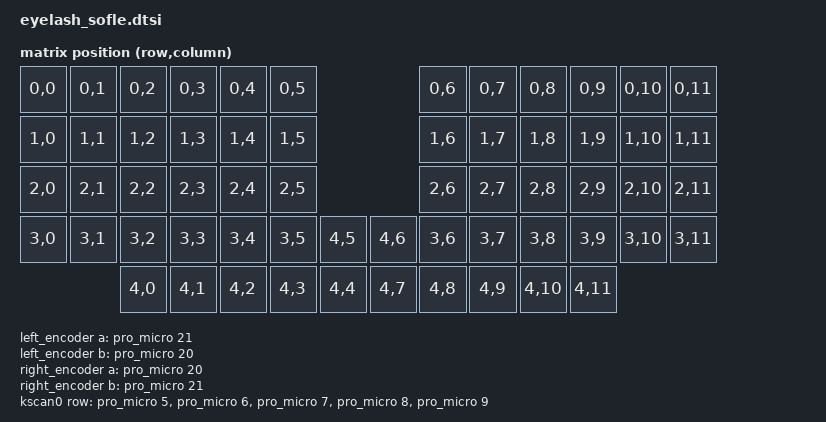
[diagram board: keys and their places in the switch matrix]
/*
*
* Copyright (c) 2021 Darryl deHaan
* SPDX-License-Identifier: MIT
*
*/
#include <dt-bindings/led/led.h>
#include <dt-bindings/zmk/matrix_transform.h>
#include <layouts/josefadamcik/sofle.dtsi>

&josefadamcik_sofle_layout {
    transform = <&default_transform>;
};

/ {

    chosen {
        //zephyr,display = &oled;
        zmk,kscan = &kscan0;
    };

	/*
    *backlight: pwmleds {
    *    compatible = "pwm-leds";
    *    pwm_led_0 {
    *        pwms = <&pwm0 0 PWM_MSEC(1) PWM_POLARITY_NORMAL>;
    *    };
    *};
	*/

    left_encoder: encoder_left {
        compatible = "alps,ec11";
        a-gpios = <&pro_micro 21 (GPIO_ACTIVE_HIGH | GPIO_PULL_UP)>;
        b-gpios = <&pro_micro 20 (GPIO_ACTIVE_HIGH | GPIO_PULL_UP)>;
        steps = <80>;
        status = "disabled";
    };

    right_encoder: encoder_right {
        compatible = "alps,ec11";
        a-gpios = <&pro_micro 20 (GPIO_ACTIVE_HIGH | GPIO_PULL_UP)>;
        b-gpios = <&pro_micro 21 (GPIO_ACTIVE_HIGH | GPIO_PULL_UP)>;
        steps = <80>;
        status = "disabled";
    };
    
	sensors: sensors {
        compatible = "zmk,keymap-sensors";
        sensors = <&left_encoder &right_encoder>;
        triggers-per-rotation = <20>;
    };


    kscan0: kscan {
        compatible = "zmk,kscan-gpio-matrix";
        wakeup-source;

        diode-direction = "col2row";
        row-gpios
            = <&pro_micro 5 (GPIO_ACTIVE_HIGH | GPIO_PULL_DOWN)>
            , <&pro_micro 6 (GPIO_ACTIVE_HIGH | GPIO_PULL_DOWN)>
            , <&pro_micro 7 (GPIO_ACTIVE_HIGH | GPIO_PULL_DOWN)>
            , <&pro_micro 8 (GPIO_ACTIVE_HIGH | GPIO_PULL_DOWN)>
            , <&pro_micro 9 (GPIO_ACTIVE_HIGH | GPIO_PULL_DOWN)>
            ;
    };
/*    
*    ext-power {
*        compatible = "zmk,ext-power-generic";
*        label = "EXT_POWER";
*        control-gpios = <&gpio0 13 GPIO_ACTIVE_HIGH>;
*        init-delay-ms = <50>;
*        status = "okay";
*    };
*/

    vbatt: vbatt {
        compatible = "zmk,battery-nrf-vddh";
    };

    default_transform: keymap_transform_0 {
        compatible = "zmk,matrix-transform";
        columns = <16>;
        rows = <4>;
        map = <
RC(0,0) RC(0,1) RC(0,2) RC(0,3) RC(0,4) RC(0,5)                 RC(0,6) RC(0,7) RC(0,8)  RC(0,9) RC(0,10) RC(0,11)
RC(1,0) RC(1,1) RC(1,2) RC(1,3) RC(1,4) RC(1,5)                 RC(1,6) RC(1,7) RC(1,8)  RC(1,9) RC(1,10) RC(1,11)
RC(2,0) RC(2,1) RC(2,2) RC(2,3) RC(2,4) RC(2,5)                 RC(2,6) RC(2,7) RC(2,8)  RC(2,9) RC(2,10) RC(2,11)
RC(3,0) RC(3,1) RC(3,2) RC(3,3) RC(3,4) RC(3,5) RC(4,5) RC(4,6) RC(3,6) RC(3,7) RC(3,8)  RC(3,9) RC(3,10) RC(3,11)
                RC(4,0) RC(4,1) RC(4,2) RC(4,3) RC(4,4) RC(4,7) RC(4,8) RC(4,9) RC(4,10) RC(4,11)
        >;
    };
};


/*&pinctrl {
*
*    spi0_default: spi0_default {
*        group1 {
*            psels = <NRF_PSEL(SPIM_SCK, 0, 20)>,
*                <NRF_PSEL(SPIM_MOSI, 0, 17)>,
*                <NRF_PSEL(SPIM_MISO, 0, 25)>;
*        };
*    };
*
*    spi0_sleep: spi0_sleep {
*        group1 {
*            psels = <NRF_PSEL(SPIM_SCK, 0, 20)>,
*                <NRF_PSEL(SPIM_MOSI, 0, 17)>,
*                <NRF_PSEL(SPIM_MISO, 0, 25)>;
*            low-power-enable;
*        };
*    };
*
*    spi3_default: spi3_default {
*        group1 {
*            psels = <NRF_PSEL(SPIM_MOSI, 1, 12)>; // WS2812_VEXT_DATA
*        };
*    };
*
*    spi3_sleep: spi3_sleep {
*        group1 {
*            psels = <NRF_PSEL(SPIM_MOSI, 1, 12)>;
*            low-power-enable;
*        };
*    };
*    pwm0_default: pwm0_default {
*        group1 {
*            psels = <NRF_PSEL(PWM_OUT0, 1, 13)>;
*        };
*    };
*    pwm0_sleep: pwm0_sleep {
*        group1 {
*            psels = <NRF_PSEL(PWM_OUT0, 1, 13)>;
*            low-power-enable;
*        };
*    };
*};
*/

/*
*&spi3 {
*    compatible = "nordic,nrf-spim";
*    status = "okay";
*
*    pinctrl-0 = <&spi3_default>;
*    pinctrl-1 = <&spi3_sleep>;
*    pinctrl-names = "default", "sleep";
*
*    led_strip: ws2812@0 { 
*        compatible = "worldsemi,ws2812-spi"; 
*
*         SPI 
*        reg = <0>;     ignored, but necessary for SPI bindings 
*        spi-max-frequency = <4000000>; 
*
*         WS2812
*        chain-length = <7>;     6 keys have underglow at the moment 
*        spi-one-frame = <0x70>;
*        spi-zero-frame = <0x40>;
*
*        color-mapping = <LED_COLOR_ID_GREEN LED_COLOR_ID_RED LED_COLOR_ID_BLUE>;
*   }; 
*};
*/

/*zephyr_udc0: &usbd {
*    compatible = "nordic,nrf-usbd";
*    status = "okay";
*};
*/

/*&pwm0 {
*    status = "okay";
*    pinctrl-0 = <&pwm0_default>;
*    pinctrl-1 = <&pwm0_sleep>;
*    pinctrl-names = "default", "sleep";
*};
*/

/{
    esb_split {
        compatible = "zmk,esb-split";
        // These are arbitrary default addresses. In end user products
        // different addresses should be used for each set of devices.
        base-addr-0 = <0xE7 0xE7 0xE7 0xE7>;
        base-addr-1 = <0xC2 0xC2 0xC2 0xC2>;
        addr-prefix = <0xE7 0xC2 0xC3 0xC4 0xC5 0xC6 0xC7 0xC8>;
    };
};










